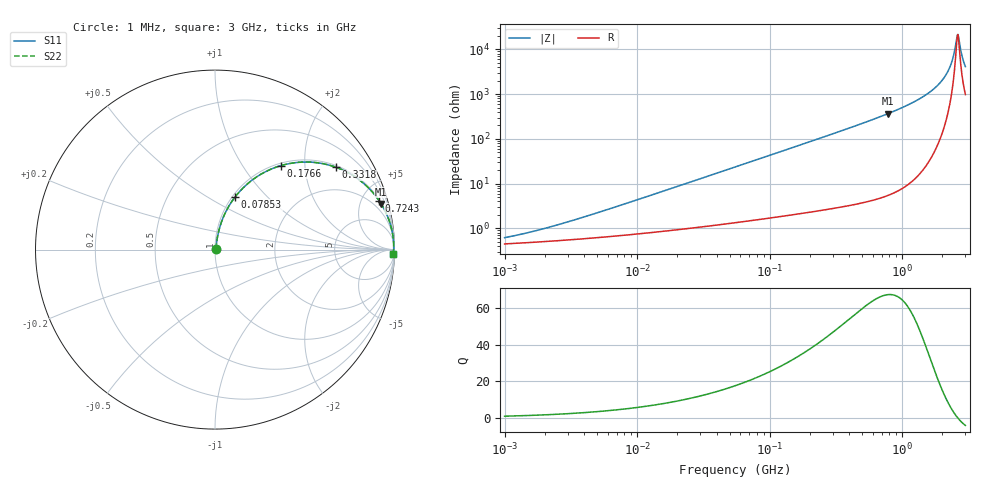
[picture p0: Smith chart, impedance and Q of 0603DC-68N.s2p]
# MHz  S  MA  R  50
!Freq  MagS11  AngS11  MagS21  AngS21  MagS12  AngS12  MagS22  AngS22
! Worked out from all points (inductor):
!   801 points, 1 MHz to 3 GHz, reference 50 ohm
!   read as one part in series: L = 68 nH near 4.183 MHz
!   highest Q = 67.4 at 776.9 MHz (marker M1), where L = 74.5 nH
!   self-resonance near 2.608 GHz
!   S11 on the Smith chart (normalised r, x): 1 MHz: 1.01, +0.01; 78.53 MHz: 1.03, +0.67; 176.6 MHz: 1.04, +1.52; 331.8 MHz: 1.06, +2.88; 724.3 MHz: 1.10, +6.70; 3 GHz: 21, -80
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1  0.006163 43.4  0.9955 -0.2  0.9955 -0.2  0.006163 43.4
3.823119  0.01723 69.5  0.9941 -0.9  0.9941 -0.9  0.01723 69.5
14.47069  0.06176 78.8  0.9899 -3.5  0.9899 -3.5  0.06176 78.8
54.77226  0.2255 73.7  0.9615 -13.0  0.9615 -13.0  0.2255 73.7
78.52918  0.3143 69.1  0.9351 -18.3  0.9351 -18.3  0.3143 69.1
118.3678  0.4459 61.5  0.8793 -26.5  0.8793 -26.5  0.4459 61.5
176.6402  0.5962 51.8  0.786 -36.6  0.786 -36.6  0.5962 51.8
209.4008  0.6608 47.2  0.7336 -41.3  0.7336 -41.3  0.6608 47.2
331.8279  0.8139 34.4  0.5648 -54.5  0.5648 -54.5  0.8139 34.4
724.3229  0.9543 16.6  0.2849 -72.6  0.2849 -72.6  0.9543 16.6
776.8855  0.9606 15.3  0.2641 -73.8  0.2641 -73.8  0.9606 15.3
792.5923  0.9623 15.0  0.2583 -74.2  0.2583 -74.2  0.9623 15.0
1347.129  0.9893 7.3  0.1267 -81.5  0.1267 -81.5  0.9893 7.3
1893.158  0.9952 3.4  0.05925 -83.7  0.05925 -83.7  0.9952 3.4
2092.429  0.9958 2.3  0.04091 -83.0  0.04091 -83.0  0.9958 2.3
2266.846  0.996 1.5  0.0266 -80.5  0.0266 -80.5  0.996 1.5
2383.164  0.9959 1.0  0.01786 -76.2  0.01786 -76.2  0.9959 1.0
2556.106  0.9956 0.3  0.006643 -48.3  0.006643 -48.3  0.9956 0.3
2607.784  0.9955 0.1  0.004755 -17.6  0.004755 -17.6  0.9955 0.1
2687.267  0.9952 -0.2  0.006126 38.9  0.006126 38.9  0.9952 -0.2
2882.277  0.9945 -0.9  0.01711 70.9  0.01711 70.9  0.9945 -0.9
3000  0.994 -1.3  0.02404 75.0  0.02404 75.0  0.994 -1.3
